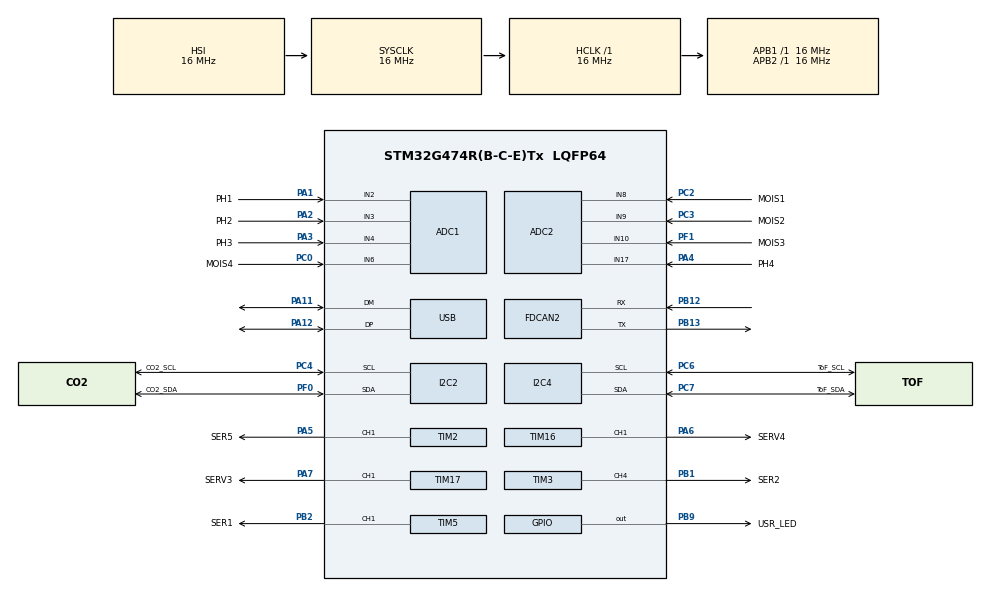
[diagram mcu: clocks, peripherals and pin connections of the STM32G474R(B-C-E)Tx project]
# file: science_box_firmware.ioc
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ADC1.Channel-1\#ChannelRegularConversion=ADC_CHANNEL_2
ADC1.Channel-2\#ChannelRegularConversion=ADC_CHANNEL_3
ADC1.Channel-3\#ChannelRegularConversion=ADC_CHANNEL_4
ADC1.Channel-4\#ChannelRegularConversion=ADC_CHANNEL_6
ADC1.DiscontinuousConvMode=ENABLE
ADC1.NbrOfConversion=4
ADC1.NbrOfConversionFlag=1
ADC1.OffsetNumber-1\#ChannelRegularConversion=ADC_OFFSET_NONE
ADC1.OffsetNumber-2\#ChannelRegularConversion=ADC_OFFSET_NONE
ADC1.OffsetNumber-3\#ChannelRegularConversion=ADC_OFFSET_NONE
ADC1.OffsetNumber-4\#ChannelRegularConversion=ADC_OFFSET_NONE
ADC1.Rank-1\#ChannelRegularConversion=1
ADC1.Rank-2\#ChannelRegularConversion=2
ADC1.Rank-3\#ChannelRegularConversion=3
ADC1.Rank-4\#ChannelRegularConversion=4
ADC1.SamplingTime-1\#ChannelRegularConversion=ADC_SAMPLETIME_640CYCLES_5
ADC1.SamplingTime-2\#ChannelRegularConversion=ADC_SAMPLETIME_640CYCLES_5
ADC1.SamplingTime-3\#ChannelRegularConversion=ADC_SAMPLETIME_640CYCLES_5
ADC1.SamplingTime-4\#ChannelRegularConversion=ADC_SAMPLETIME_640CYCLES_5
ADC1.master=1
ADC2.Channel-0\#ChannelRegularConversion=ADC_CHANNEL_8
ADC2.Channel-1\#ChannelRegularConversion=ADC_CHANNEL_9
ADC2.Channel-2\#ChannelRegularConversion=ADC_CHANNEL_10
ADC2.Channel-3\#ChannelRegularConversion=ADC_CHANNEL_17
ADC2.DiscontinuousConvMode=ENABLE
ADC2.NbrOfConversion=4
ADC2.NbrOfConversionFlag=1
ADC2.OffsetNumber-0\#ChannelRegularConversion=ADC_OFFSET_NONE
ADC2.OffsetNumber-1\#ChannelRegularConversion=ADC_OFFSET_NONE
ADC2.OffsetNumber-2\#ChannelRegularConversion=ADC_OFFSET_NONE
ADC2.OffsetNumber-3\#ChannelRegularConversion=ADC_OFFSET_NONE
ADC2.Rank-0\#ChannelRegularConversion=1
ADC2.Rank-1\#ChannelRegularConversion=2
ADC2.Rank-2\#ChannelRegularConversion=3
ADC2.Rank-3\#ChannelRegularConversion=4
ADC2.SamplingTime-0\#ChannelRegularConversion=ADC_SAMPLETIME_640CYCLES_5
ADC2.SamplingTime-1\#ChannelRegularConversion=ADC_SAMPLETIME_640CYCLES_5
ADC2.SamplingTime-2\#ChannelRegularConversion=ADC_SAMPLETIME_640CYCLES_5
ADC2.SamplingTime-3\#ChannelRegularConversion=ADC_SAMPLETIME_640CYCLES_5
FDCAN2.CalculateBaudRateNominal=333333
FDCAN2.CalculateTimeBitNominal=3000
FDCAN2.CalculateTimeQuantumNominal=1000.0
I2C2.Timing=0x00503D58
I2C4.Timing=0x00503D58
Mcu.Family=STM32G4
Mcu.Name=STM32G474R(B-C-E)Tx
Mcu.Package=LQFP64
NVIC.PriorityGroup=NVIC_PRIORITYGROUP_4
NVIC.RTC_WKUP_IRQn=true\:0\:0\:false\:false\:true\:true\:true\:true
NVIC.USB_HP_IRQn=true\:0\:0\:false\:false\:true\:true\:true\:true
NVIC.USB_LP_IRQn=true\:0\:0\:false\:false\:true\:true\:true\:true
PA1.GPIO_Label=PH1
PA1.Mode=IN2-Single-Ended
PA1.Signal=ADC1_IN2
PA11.Mode=Device
PA11.Signal=USB_DM
PA12.Mode=Device
PA12.Signal=USB_DP
PA13.Mode=Trace_Asynchronous_SW
PA13.Signal=SYS_JTMS-SWDIO
PA14.Mode=Trace_Asynchronous_SW
PA14.Signal=SYS_JTCK-SWCLK
PA2.GPIO_Label=PH2
PA2.Mode=IN3-Single-Ended
PA2.Signal=ADC1_IN3
PA3.GPIO_Label=PH3
PA3.Mode=IN4-Single-Ended
PA3.Signal=ADC1_IN4
PA4.GPIO_Label=PH4
PA4.Mode=IN17-Single-Ended
PA4.Signal=ADC2_IN17
PA5.GPIO_Label=SER5
PA5.Signal=S_TIM2_CH1
PA6.GPIO_Label=SERV4
PA6.Signal=S_TIM16_CH1
PA7.GPIO_Label=SERV3
PA7.Signal=S_TIM17_CH1
PB1.GPIO_Label=SER2
PB1.Signal=S_TIM3_CH4
PB12.Mode=FDCAN_Activate
PB12.Signal=FDCAN2_RX
PB13.Mode=FDCAN_Activate
PB13.Signal=FDCAN2_TX
PB2.GPIO_Label=SER1
PB2.Signal=S_TIM5_CH1
PB3.Mode=Trace_Asynchronous_SW
PB3.Signal=SYS_JTDO-SWO
PB9.GPIO_Label=USR_LED
PB9.Signal=GPIO_Output
PC0.GPIO_Label=MOIS4
PC0.Mode=IN6-Single-Ended
PC0.Signal=ADC1_IN6
PC2.GPIO_Label=MOIS1
PC2.Mode=IN8-Single-Ended
PC2.Signal=ADC2_IN8
PC3.GPIO_Label=MOIS2
PC3.Mode=IN9-Single-Ended
PC3.Signal=ADC2_IN9
PC4.GPIO_Label=CO2_SCL
PC4.Mode=I2C
PC4.Signal=I2C2_SCL
PC6.GPIO_Label=ToF_SCL
PC6.Mode=I2C
PC6.Signal=I2C4_SCL
PC7.GPIO_Label=ToF_SDA
PC7.Mode=I2C
PC7.Signal=I2C4_SDA
PF0-OSC_IN.GPIO_Label=CO2_SDA
PF0-OSC_IN.Mode=I2C
PF0-OSC_IN.Signal=I2C2_SDA
PF1-OSC_OUT.GPIO_Label=MOIS3
PF1-OSC_OUT.Mode=IN10-Single-Ended
PF1-OSC_OUT.Signal=ADC2_IN10
ProjectManager.HeapSize=0x200
ProjectManager.StackSize=0x400
ProjectManager.TargetToolchain=CMake
RCC.AHBFreq_Value=16000000
RCC.APB1Freq_Value=16000000
RCC.APB1TimFreq_Value=16000000
RCC.APB2Freq_Value=16000000
RCC.APB2TimFreq_Value=16000000
RCC.CortexFreq_Value=16000000
RCC.EXTERNAL_CLOCK_VALUE=12288000
RCC.HCLKFreq_Value=16000000
RCC.HSE_VALUE=8000000
RCC.HSI48_VALUE=48000000
RCC.HSI_VALUE=16000000
RCC.LSE_VALUE=32768
RCC.PLLN=12
RCC.PLLQ=RCC_PLLQ_DIV4
RCC.SYSCLKFreq_VALUE=16000000
RCC.USBFreq_Value=48000000
RCC.VCOOutputFreq_Value=192000000
RTC.Format=RTC_FORMAT_BIN
SH.S_TIM16_CH1.0=TIM16_CH1,PWM Generation1 CH1
SH.S_TIM17_CH1.0=TIM17_CH1,PWM Generation1 CH1
SH.S_TIM2_CH1.0=TIM2_CH1,PWM Generation1 CH1
SH.S_TIM3_CH4.0=TIM3_CH4,PWM Generation4 CH4
SH.S_TIM5_CH1.0=TIM5_CH1,PWM Generation1 CH1
TIM16.AutoReloadPreload=TIM_AUTORELOAD_PRELOAD_ENABLE
TIM16.Channel=TIM_CHANNEL_1
TIM16.PeriodNoDither=1000
TIM16.Prescaler=320
TIM17.AutoReloadPreload=TIM_AUTORELOAD_PRELOAD_ENABLE
TIM17.Channel=TIM_CHANNEL_1
TIM17.PeriodNoDither=1000
TIM17.Prescaler=320
TIM2.AutoReloadPreload=TIM_AUTORELOAD_PRELOAD_ENABLE
TIM2.Channel-PWM\ Generation1\ CH1=TIM_CHANNEL_1
TIM2.PeriodNoDither=1000
TIM2.Prescaler=320
TIM3.AutoReloadPreload=TIM_AUTORELOAD_PRELOAD_ENABLE
TIM3.Channel-PWM\ Generation4\ CH4=TIM_CHANNEL_4
TIM3.PeriodNoDither=1000
TIM3.Prescaler=320
TIM5.AutoReloadPreload=TIM_AUTORELOAD_PRELOAD_ENABLE
TIM5.Channel-PWM\ Generation1\ CH1=TIM_CHANNEL_1
TIM5.PeriodNoDither=1000
TIM5.Prescaler=320
VP_RTC_VS_RTC_Activate.Mode=RTC_Enabled
VP_RTC_VS_RTC_Calendar.Mode=RTC_Calendar
VP_RTC_VS_RTC_WakeUp_intern.Mode=WakeUp
VP_SYS_VS_DBSignals.Mode=DisableDeadBatterySignals
VP_TIM16_VS_ClockSourceINT.Mode=Enable_Timer
VP_TIM17_VS_ClockSourceINT.Mode=Enable_Timer
VP_TIM2_VS_ClockSourceINT.Mode=Internal
VP_TIM3_VS_ClockSourceINT.Mode=Internal
VP_TIM5_VS_ClockSourceINT.Mode=Internal
board=custom

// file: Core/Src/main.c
/* USER CODE BEGIN Header */
/**
  ******************************************************************************
  * @file           : main.c
  * @brief          : Main program body
  ******************************************************************************
  * @attention
  *
  * Copyright (c) 2026 STMicroelectronics.
  * All rights reserved.
  *
  * This software is licensed under terms that can be found in the LICENSE file
  * in the root directory of this software component.
  * If no LICENSE file comes with this software, it is provided AS-IS.
  *
  ******************************************************************************
  */
/* USER CODE END Header */
#include "main.h"

/* USER CODE BEGIN Includes */

// Including the C standard libraries
#include <stdio.h>			// STDIO
#include <string.h>			// Strings (for organizing data)
#include "rosjam.h"
#include "stm32g4xx_hal_rtc.h"
#include "vl53l3cx.h"
/* USER CODE END Includes */

ADC_HandleTypeDef hadc1;
ADC_HandleTypeDef hadc2;

FDCAN_HandleTypeDef hfdcan2;

I2C_HandleTypeDef hi2c2;
I2C_HandleTypeDef hi2c4;

RTC_HandleTypeDef hrtc;

TIM_HandleTypeDef htim2;
TIM_HandleTypeDef htim3;
TIM_HandleTypeDef htim5;
TIM_HandleTypeDef htim16;
TIM_HandleTypeDef htim17;

PCD_HandleTypeDef hpcd_USB_FS;

/* USER CODE BEGIN PV */
uint16_t ph1_val = 0;
uint16_t ph2_val = 0;
uint16_t ph3_val = 0;

uint16_t mois1_val = 0;
uint16_t mois2_val = 0;
uint16_t mois3_val = 0;

uint32_t tof_val = 0;

uint16_t timer = 0;
uint16_t timestamp = 0;

char buffer[150];
uint16_t msglength;

// Setting up the RTC
#define RtcHandle &hrtc
char timestamp_message[50];
uint8_t sizeTimer;

/* USER CODE END PV */

void SystemClock_Config(void);
static void MX_GPIO_Init(void);
static void MX_ADC1_Init(void);
static void MX_ADC2_Init(void);
static void MX_FDCAN2_Init(void);
static void MX_I2C2_Init(void);
static void MX_I2C4_Init(void);
static void MX_TIM2_Init(void);
static void MX_TIM3_Init(void);
static void MX_TIM5_Init(void);
static void MX_TIM16_Init(void);
static void MX_TIM17_Init(void);
static void MX_USB_PCD_Init(void);
static void MX_RTC_Init(void);

/* USER CODE BEGIN 0 */
  // DEBUG: JTAG
int __io_putchar(int ch) {
 // Write character to ITM ch.0
 ITM_SendChar(ch);
 return(ch);
}
// RTC interrupt callback function
void HAL_RTCEx_WakeUpTimerEventCallback(RTC_HandleTypeDef *hrtc)
{
	static RTC_TimeTypeDef sTime;

	// Get current time and date
	HAL_RTC_GetTime(hrtc, &sTime, RTC_FORMAT_BIN);
	uint16_t mseconds = (sTime.SubSeconds * 1000) / (sTime.SecondFraction + 1);

	// Send time and date over uart
	sizeTimer = sprintf(timestamp_message, "%02d:%02d:%02d:%3.3u\r\n", sTime.Hours, sTime.Minutes, sTime.Seconds, mseconds);
  timestamp++;;
  timer++;
}

VL53L3CX_Object_t sensor;

static int32_t I2C_WriteReg(uint16_t addr, uint8_t *pdata, uint16_t count) {
    if (HAL_I2C_Master_Transmit(&hi2c4, addr, pdata, count, 100) != HAL_OK)
        return -1;
    return 0;
}

static int32_t I2C_ReadReg(uint16_t addr, uint8_t *pdata, uint16_t count) {
    if (HAL_I2C_Master_Receive(&hi2c4, addr, pdata, count, 100) != HAL_OK)
        return -1;
    return 0;
}

static int32_t I2C_GetTick(void) {
    return (int32_t)HAL_GetTick();
}

void ToF_Init(void) {
    HAL_GPIO_WritePin(GPIOA, GPIO_PIN_15, GPIO_PIN_RESET);
    HAL_Delay(10);
    HAL_GPIO_WritePin(GPIOA, GPIO_PIN_15, GPIO_PIN_SET);
    HAL_Delay(200);

    VL53L3CX_IO_t io;
    io.Address  = VL53L3CX_DEVICE_ADDRESS;
    io.WriteReg = I2C_WriteReg;
    io.ReadReg  = I2C_ReadReg;
    io.GetTick  = I2C_GetTick;
    io.Init     = 0; // I2C already initialized by MX_I2C4_Init
    io.DeInit   = NULL;

    VL53L3CX_RegisterBusIO(&sensor, &io);
    VL53L3CX_Init(&sensor);
    VL53L3CX_Start(&sensor, VL53L3CX_MODE_BLOCKING_CONTINUOUS);
}

int32_t ToF_Read(void) {
    VL53L3CX_Result_t result;

    if (VL53L3CX_GetDistance(&sensor, &result) != VL53L3CX_OK) {
        return -1;
    }

    for (uint32_t i = 0; i < result.ZoneResult[0].NumberOfTargets; i++) {
        if (result.ZoneResult[0].Status[i] == 0) {
            return result.ZoneResult[0].Distance[i];
        }
    }
    return -1;
}

uint16_t Get_Position(float position) {
	return position * 100 + 100;
}

// Position goes from 0 to 1
void Turn_Servo(uint8_t number, float position) {
	position = Get_Position(position);
	if (number == 1) {
		__HAL_TIM_SET_COMPARE(&htim5, TIM_CHANNEL_1, position);
	}
	if (number == 2) {
		__HAL_TIM_SET_COMPARE(&htim3, TIM_CHANNEL_4, position);
	}
	if (number == 3) {
		__HAL_TIM_SET_COMPARE(&htim17, TIM_CHANNEL_1, position);
	}
	if (number == 4) {
		__HAL_TIM_SET_COMPARE(&htim16, TIM_CHANNEL_1, position);
	}
	if (number == 5) {
		__HAL_TIM_SET_COMPARE(&htim2, TIM_CHANNEL_1, position);
	}

}
/* USER CODE END 0 */

int main(void)
{

  /* MCU Configuration--------------------------------------------------------*/

  /* Reset of all peripherals, Initializes the Flash interface and the Systick. */
  HAL_Init();

  /* Configure the system clock */
  SystemClock_Config();

  /* Initialize all configured peripherals */
  MX_GPIO_Init();
  MX_ADC1_Init();
  MX_ADC2_Init();
  MX_FDCAN2_Init();
  MX_I2C2_Init();
  MX_I2C4_Init();
  MX_TIM2_Init();
  MX_TIM3_Init();
  MX_TIM5_Init();
  MX_TIM16_Init();
  MX_TIM17_Init();
  MX_USB_PCD_Init();
  MX_RTC_Init();
  /* USER CODE BEGIN 2 */
  // Initialize USB connection
  setup_simple();

  // ToF Sensor
  ToF_Init();

  // Initialize servo PWM timers
  // IMPORTANT: Set the timers and channels accordingly
  HAL_TIM_PWM_Start(&htim5, TIM_CHANNEL_1); 		// Servo 1
  __HAL_TIM_SET_COMPARE(&htim5, TIM_CHANNEL_1, 50);
  HAL_TIM_PWM_Start(&htim3, TIM_CHANNEL_4);			// Servo 2
  __HAL_TIM_SET_COMPARE(&htim3, TIM_CHANNEL_4, 50);
  HAL_TIM_PWM_Start(&htim17, TIM_CHANNEL_1);		// Servo 3
  __HAL_TIM_SET_COMPARE(&htim17, TIM_CHANNEL_1, 50);
  HAL_TIM_PWM_Start(&htim16, TIM_CHANNEL_1);		// Servo 4
  __HAL_TIM_SET_COMPARE(&htim16, TIM_CHANNEL_1, 50);
  HAL_TIM_PWM_Start(&htim2, TIM_CHANNEL_1);			// Servo 5
  __HAL_TIM_SET_COMPARE(&htim2, TIM_CHANNEL_1, 50);

  int i = 50;

  // RTC startup config
  RTC_TimeTypeDef sTimeinit;
  uint16_t mseconds = 0;
  // Disable Wakeup Timer and configure it
  HAL_RTCEx_DeactivateWakeUpTimer(RtcHandle);
  // Init the time of the RTC system
  sTimeinit.Hours = 0;
  sTimeinit.Minutes = 0;
  HAL_RTC_SetTime(RtcHandle, &sTimeinit, RTC_FORMAT_BIN);

    // Start Wakeup timer with configuration (32768Hz / 16 = 2048) -> Counter = 2048
  HAL_RTCEx_SetWakeUpTimer_IT(RtcHandle, 2048-1, RTC_WAKEUPCLOCK_RTCCLK_DIV16);

  /* USER CODE END 2 */

  /* Infinite loop */
  /* USER CODE BEGIN WHILE */
  while (1)
  {
    // Setup USB
    process_simple();

    /* USER CODE END WHILE */

    /* USER CODE BEGIN 3 */

    // RTC handling
		// HAL_RTC_GetTime(RtcHandle, &sTime, RTC_FORMAT_BIN);
		// mseconds = (sTime.SubSeconds * 1000) / (sTime.SecondFraction + 1);

	  // Servo driving

	  // Get servo signals from USB
    // The message will be formatted as: "S1:xx;S2:xx;S3:xx;S4:xx\n"

	  // Set the duty cycle for the servos to the values given
    // Servos
    //  ---- This is a test to check servos -----
    // i += 1;
    // if (50 > i && i >= 25) {
    //   Turn_Servo(1, 0);
    // } else if (25 > i && i >= 0) {
    //   Turn_Servo(1, 1);
    // } else {
    //   i = 0;
    // }
    // if (i > 200) i = 100;

	  // ADC configuration and logic: polling
	  HAL_ADC_Start(&hadc1);
	  HAL_ADC_PollForConversion(&hadc1, 100);
	  ph3_val = HAL_ADC_GetValue(&hadc1);		// Ch2

	  HAL_ADC_Start(&hadc1);
	  HAL_ADC_PollForConversion(&hadc1, 100);
	  mois2_val = HAL_ADC_GetValue(&hadc1);		// Ch14

	  HAL_ADC_Start(&hadc1);
	  HAL_ADC_PollForConversion(&hadc1, 100);
	  mois3_val = HAL_ADC_GetValue(&hadc1);		// Ch3

	  HAL_ADC_Stop(&hadc1);

	  HAL_ADC_Start(&hadc2);
	  HAL_ADC_PollForConversion(&hadc2, 100);
	  ph1_val = HAL_ADC_GetValue(&hadc2);		// Ch10

	  HAL_ADC_Start(&hadc2);
	  HAL_ADC_PollForConversion(&hadc2, 100);
	  ph2_val = HAL_ADC_GetValue(&hadc2);		// Ch6

	  HAL_ADC_Start(&hadc2);
	  HAL_ADC_PollForConversion(&hadc2, 100);
	  mois1_val = HAL_ADC_GetValue(&hadc2);		// Ch17

	  HAL_ADC_Stop(&hadc2);

    // ToF
    tof_val = ToF_Read();

	  // Send the data via the USB interface
	  // Write to buffer

    if (timer > 0){
        msglength = sprintf(buffer, "ph1=%d, ph2=%d, ph3=%d, m1=%d, m2=%d, m3=%d, tof=%ld; %d\r\n",
        ph1_val, ph2_val, ph3_val, mois1_val, mois2_val, mois3_val, tof_val,
        timestamp);
	    // Send data via USB
      send_msg_raw(buffer, msglength);
      timer = 0;
    }

    // NO HAL_Delay!!! (rosjam USB doesn't like that)
  }
  /* USER CODE END 3 */
}

void SystemClock_Config(void)
{
  RCC_OscInitTypeDef RCC_OscInitStruct = {0};
  RCC_ClkInitTypeDef RCC_ClkInitStruct = {0};

  /** Configure the main internal regulator output voltage
  */
  HAL_PWREx_ControlVoltageScaling(PWR_REGULATOR_VOLTAGE_SCALE1);

  /** Initializes the RCC Oscillators according to the specified parameters
  * in the RCC_OscInitTypeDef structure.
  */
  RCC_OscInitStruct.OscillatorType = RCC_OSCILLATORTYPE_HSI|RCC_OSCILLATORTYPE_LSI;
  RCC_OscInitStruct.HSIState = RCC_HSI_ON;
  RCC_OscInitStruct.HSICalibrationValue = RCC_HSICALIBRATION_DEFAULT;
  RCC_OscInitStruct.LSIState = RCC_LSI_ON;
  RCC_OscInitStruct.PLL.PLLState = RCC_PLL_ON;
  RCC_OscInitStruct.PLL.PLLSource = RCC_PLLSOURCE_HSI;
  RCC_OscInitStruct.PLL.PLLM = RCC_PLLM_DIV1;
  RCC_OscInitStruct.PLL.PLLN = 12;
  RCC_OscInitStruct.PLL.PLLP = RCC_PLLP_DIV2;
  RCC_OscInitStruct.PLL.PLLQ = RCC_PLLQ_DIV4;
  RCC_OscInitStruct.PLL.PLLR = RCC_PLLR_DIV2;
  if (HAL_RCC_OscConfig(&RCC_OscInitStruct) != HAL_OK)
  {
    Error_Handler();
  }

  /** Initializes the CPU, AHB and APB buses clocks
  */
  RCC_ClkInitStruct.ClockType = RCC_CLOCKTYPE_HCLK|RCC_CLOCKTYPE_SYSCLK
                              |RCC_CLOCKTYPE_PCLK1|RCC_CLOCKTYPE_PCLK2;
  RCC_ClkInitStruct.SYSCLKSource = RCC_SYSCLKSOURCE_HSI;
  RCC_ClkInitStruct.AHBCLKDivider = RCC_SYSCLK_DIV1;
  RCC_ClkInitStruct.APB1CLKDivider = RCC_HCLK_DIV1;
  RCC_ClkInitStruct.APB2CLKDivider = RCC_HCLK_DIV1;

  if (HAL_RCC_ClockConfig(&RCC_ClkInitStruct, FLASH_LATENCY_0) != HAL_OK)
  {
    Error_Handler();
  }
}

static void MX_ADC1_Init(void)
{

  ADC_MultiModeTypeDef multimode = {0};
  ADC_ChannelConfTypeDef sConfig = {0};

  /** Common config
  */
  hadc1.Instance = ADC1;
  hadc1.Init.ClockPrescaler = ADC_CLOCK_SYNC_PCLK_DIV2;
  hadc1.Init.Resolution = ADC_RESOLUTION_12B;
  hadc1.Init.DataAlign = ADC_DATAALIGN_RIGHT;
  hadc1.Init.GainCompensation = 0;
  hadc1.Init.ScanConvMode = ADC_SCAN_ENABLE;
  hadc1.Init.EOCSelection = ADC_EOC_SINGLE_CONV;
  hadc1.Init.LowPowerAutoWait = DISABLE;
  hadc1.Init.ContinuousConvMode = DISABLE;
  hadc1.Init.NbrOfConversion = 4;
  hadc1.Init.DiscontinuousConvMode = ENABLE;
  hadc1.Init.NbrOfDiscConversion = 1;
  hadc1.Init.ExternalTrigConv = ADC_SOFTWARE_START;
  hadc1.Init.ExternalTrigConvEdge = ADC_EXTERNALTRIGCONVEDGE_NONE;
  hadc1.Init.DMAContinuousRequests = DISABLE;
  hadc1.Init.Overrun = ADC_OVR_DATA_PRESERVED;
  hadc1.Init.OversamplingMode = DISABLE;
  if (HAL_ADC_Init(&hadc1) != HAL_OK)
  {
    Error_Handler();
  }

  /** Configure the ADC multi-mode
  */
  multimode.Mode = ADC_MODE_INDEPENDENT;
  if (HAL_ADCEx_MultiModeConfigChannel(&hadc1, &multimode) != HAL_OK)
  {
    Error_Handler();
  }

  /** Configure Regular Channel
  */
  sConfig.Channel = ADC_CHANNEL_2;
  sConfig.Rank = ADC_REGULAR_RANK_1;
  sConfig.SamplingTime = ADC_SAMPLETIME_640CYCLES_5;
  sConfig.SingleDiff = ADC_SINGLE_ENDED;
  sConfig.OffsetNumber = ADC_OFFSET_NONE;
  sConfig.Offset = 0;
  if (HAL_ADC_ConfigChannel(&hadc1, &sConfig) != HAL_OK)
  {
    Error_Handler();
  }

  /** Configure Regular Channel
  */
  sConfig.Channel = ADC_CHANNEL_4;
  sConfig.Rank = ADC_REGULAR_RANK_2;
  if (HAL_ADC_ConfigChannel(&hadc1, &sConfig) != HAL_OK)
  {
    Error_Handler();
  }

  /** Configure Regular Channel
  */
  sConfig.Channel = ADC_CHANNEL_3;
  sConfig.Rank = ADC_REGULAR_RANK_3;
  if (HAL_ADC_ConfigChannel(&hadc1, &sConfig) != HAL_OK)
  {
    Error_Handler();
  }

}

static void MX_ADC2_Init(void)
{

  ADC_ChannelConfTypeDef sConfig = {0};

  /** Common config
  */
  hadc2.Instance = ADC2;
  hadc2.Init.ClockPrescaler = ADC_CLOCK_SYNC_PCLK_DIV2;
  hadc2.Init.Resolution = ADC_RESOLUTION_12B;
  hadc2.Init.DataAlign = ADC_DATAALIGN_RIGHT;
  hadc2.Init.GainCompensation = 0;
  hadc2.Init.ScanConvMode = ADC_SCAN_ENABLE;
  hadc2.Init.EOCSelection = ADC_EOC_SINGLE_CONV;
  hadc2.Init.LowPowerAutoWait = DISABLE;
  hadc2.Init.ContinuousConvMode = DISABLE;
  hadc2.Init.NbrOfConversion = 4;
  hadc2.Init.DiscontinuousConvMode = ENABLE;
  hadc2.Init.NbrOfDiscConversion = 1;
  hadc2.Init.ExternalTrigConv = ADC_SOFTWARE_START;
  hadc2.Init.ExternalTrigConvEdge = ADC_EXTERNALTRIGCONVEDGE_NONE;
  hadc2.Init.DMAContinuousRequests = DISABLE;
  hadc2.Init.Overrun = ADC_OVR_DATA_PRESERVED;
  hadc2.Init.OversamplingMode = DISABLE;
  if (HAL_ADC_Init(&hadc2) != HAL_OK)
  {
    Error_Handler();
  }

  /** Configure Regular Channel
  */
  sConfig.Channel = ADC_CHANNEL_10;
  sConfig.Rank = ADC_REGULAR_RANK_1;
  sConfig.SamplingTime = ADC_SAMPLETIME_640CYCLES_5;
  sConfig.SingleDiff = ADC_SINGLE_ENDED;
  sConfig.OffsetNumber = ADC_OFFSET_NONE;
  sConfig.Offset = 0;
  if (HAL_ADC_ConfigChannel(&hadc2, &sConfig) != HAL_OK)
  {
    Error_Handler();
  }

  /** Configure Regular Channel
  */
  sConfig.Channel = ADC_CHANNEL_6;
  sConfig.Rank = ADC_REGULAR_RANK_2;
  if (HAL_ADC_ConfigChannel(&hadc2, &sConfig) != HAL_OK)
  {
    Error_Handler();
  }

  /** Configure Regular Channel
  */
  sConfig.Channel = ADC_CHANNEL_17;
  sConfig.Rank = ADC_REGULAR_RANK_3;
  if (HAL_ADC_ConfigChannel(&hadc2, &sConfig) != HAL_OK)
  {
    Error_Handler();
  }

}

static void MX_FDCAN2_Init(void)
{

  hfdcan2.Instance = FDCAN2;
  hfdcan2.Init.ClockDivider = FDCAN_CLOCK_DIV1;
  hfdcan2.Init.FrameFormat = FDCAN_FRAME_CLASSIC;
  hfdcan2.Init.Mode = FDCAN_MODE_NORMAL;
  hfdcan2.Init.AutoRetransmission = DISABLE;
  hfdcan2.Init.TransmitPause = DISABLE;
  hfdcan2.Init.ProtocolException = DISABLE;
  hfdcan2.Init.NominalPrescaler = 16;
  hfdcan2.Init.NominalSyncJumpWidth = 1;
  hfdcan2.Init.NominalTimeSeg1 = 1;
  hfdcan2.Init.NominalTimeSeg2 = 1;
  hfdcan2.Init.DataPrescaler = 1;
  hfdcan2.Init.DataSyncJumpWidth = 1;
  hfdcan2.Init.DataTimeSeg1 = 1;
  hfdcan2.Init.DataTimeSeg2 = 1;
  hfdcan2.Init.StdFiltersNbr = 0;
  hfdcan2.Init.ExtFiltersNbr = 0;
  hfdcan2.Init.TxFifoQueueMode = FDCAN_TX_FIFO_OPERATION;
  if (HAL_FDCAN_Init(&hfdcan2) != HAL_OK)
  {
    Error_Handler();
  }

}

static void MX_I2C2_Init(void)
{

  hi2c2.Instance = I2C2;
  hi2c2.Init.Timing = 0x00503D58;
  hi2c2.Init.OwnAddress1 = 0;
  hi2c2.Init.AddressingMode = I2C_ADDRESSINGMODE_7BIT;
  hi2c2.Init.DualAddressMode = I2C_DUALADDRESS_DISABLE;
  hi2c2.Init.OwnAddress2 = 0;
  hi2c2.Init.OwnAddress2Masks = I2C_OA2_NOMASK;
  hi2c2.Init.GeneralCallMode = I2C_GENERALCALL_DISABLE;
  hi2c2.Init.NoStretchMode = I2C_NOSTRETCH_DISABLE;
  if (HAL_I2C_Init(&hi2c2) != HAL_OK)
  {
    Error_Handler();
  }

  /** Configure Analogue filter
  */
  if (HAL_I2CEx_ConfigAnalogFilter(&hi2c2, I2C_ANALOGFILTER_ENABLE) != HAL_OK)
  {
    Error_Handler();
  }

  /** Configure Digital filter
  */
  if (HAL_I2CEx_ConfigDigitalFilter(&hi2c2, 0) != HAL_OK)
  {
    Error_Handler();
  }

}

static void MX_I2C4_Init(void)
{

  hi2c4.Instance = I2C4;
  hi2c4.Init.Timing = 0x00503D58;
  hi2c4.Init.OwnAddress1 = 0;
  hi2c4.Init.AddressingMode = I2C_ADDRESSINGMODE_7BIT;
  hi2c4.Init.DualAddressMode = I2C_DUALADDRESS_DISABLE;
  hi2c4.Init.OwnAddress2 = 0;
  hi2c4.Init.OwnAddress2Masks = I2C_OA2_NOMASK;
  hi2c4.Init.GeneralCallMode = I2C_GENERALCALL_DISABLE;
  hi2c4.Init.NoStretchMode = I2C_NOSTRETCH_DISABLE;
  if (HAL_I2C_Init(&hi2c4) != HAL_OK)
  {
    Error_Handler();
  }

  /** Configure Analogue filter
  */
  if (HAL_I2CEx_ConfigAnalogFilter(&hi2c4, I2C_ANALOGFILTER_ENABLE) != HAL_OK)
  {
    Error_Handler();
  }

  /** Configure Digital filter
  */
  if (HAL_I2CEx_ConfigDigitalFilter(&hi2c4, 0) != HAL_OK)
  {
    Error_Handler();
  }

}

static void MX_RTC_Init(void)
{

  RTC_TimeTypeDef sTime = {0};
  RTC_DateTypeDef sDate = {0};

  /** Initialize RTC Only
  */
  hrtc.Instance = RTC;
  hrtc.Init.HourFormat = RTC_HOURFORMAT_24;
  hrtc.Init.AsynchPrediv = 127;
  hrtc.Init.SynchPrediv = 255;
  hrtc.Init.OutPut = RTC_OUTPUT_DISABLE;
  hrtc.Init.OutPutRemap = RTC_OUTPUT_REMAP_NONE;
  hrtc.Init.OutPutPolarity = RTC_OUTPUT_POLARITY_HIGH;
  hrtc.Init.OutPutType = RTC_OUTPUT_TYPE_OPENDRAIN;
  hrtc.Init.OutPutPullUp = RTC_OUTPUT_PULLUP_NONE;
  if (HAL_RTC_Init(&hrtc) != HAL_OK)
  {
    Error_Handler();
  }

  /** Initialize RTC and set the Time and Date
  */
  sTime.Hours = 0;
  sTime.Minutes = 0;
  sTime.Seconds = 0;
  sTime.SubSeconds = 0;
  sTime.DayLightSaving = RTC_DAYLIGHTSAVING_NONE;
  sTime.StoreOperation = RTC_STOREOPERATION_RESET;
  if (HAL_RTC_SetTime(&hrtc, &sTime, RTC_FORMAT_BIN) != HAL_OK)
  {
    Error_Handler();
  }
  sDate.WeekDay = RTC_WEEKDAY_MONDAY;
  sDate.Month = RTC_MONTH_JANUARY;
  sDate.Date = 1;
  sDate.Year = 0;

  if (HAL_RTC_SetDate(&hrtc, &sDate, RTC_FORMAT_BIN) != HAL_OK)
  {
    Error_Handler();
  }

  /** Enable the WakeUp
  */
  if (HAL_RTCEx_SetWakeUpTimer_IT(&hrtc, 0, RTC_WAKEUPCLOCK_RTCCLK_DIV16) != HAL_OK)
  {
    Error_Handler();
  }

}

static void MX_TIM2_Init(void)
{

  TIM_ClockConfigTypeDef sClockSourceConfig = {0};
  TIM_MasterConfigTypeDef sMasterConfig = {0};
  TIM_OC_InitTypeDef sConfigOC = {0};

  htim2.Instance = TIM2;
  htim2.Init.Prescaler = 320;
  htim2.Init.CounterMode = TIM_COUNTERMODE_UP;
  htim2.Init.Period = 1000;
  htim2.Init.ClockDivision = TIM_CLOCKDIVISION_DIV1;
  htim2.Init.AutoReloadPreload = TIM_AUTORELOAD_PRELOAD_ENABLE;
  if (HAL_TIM_Base_Init(&htim2) != HAL_OK)
  {
    Error_Handler();
  }
  sClockSourceConfig.ClockSource = TIM_CLOCKSOURCE_INTERNAL;
  if (HAL_TIM_ConfigClockSource(&htim2, &sClockSourceConfig) != HAL_OK)
  {
    Error_Handler();
  }
  if (HAL_TIM_PWM_Init(&htim2) != HAL_OK)
  {
    Error_Handler();
  }
  sMasterConfig.MasterOutputTrigger = TIM_TRGO_RESET;
  sMasterConfig.MasterSlaveMode = TIM_MASTERSLAVEMODE_DISABLE;
  if (HAL_TIMEx_MasterConfigSynchronization(&htim2, &sMasterConfig) != HAL_OK)
  {
    Error_Handler();
  }
  sConfigOC.OCMode = TIM_OCMODE_PWM1;
  sConfigOC.Pulse = 0;
  sConfigOC.OCPolarity = TIM_OCPOLARITY_HIGH;
  sConfigOC.OCFastMode = TIM_OCFAST_DISABLE;
  if (HAL_TIM_PWM_ConfigChannel(&htim2, &sConfigOC, TIM_CHANNEL_1) != HAL_OK)
  {
    Error_Handler();
  }
  HAL_TIM_MspPostInit(&htim2);

}

static void MX_TIM3_Init(void)
{

  TIM_ClockConfigTypeDef sClockSourceConfig = {0};
  TIM_MasterConfigTypeDef sMasterConfig = {0};
  TIM_OC_InitTypeDef sConfigOC = {0};

  htim3.Instance = TIM3;
  htim3.Init.Prescaler = 320;
  htim3.Init.CounterMode = TIM_COUNTERMODE_UP;
  htim3.Init.Period = 1000;
  htim3.Init.ClockDivision = TIM_CLOCKDIVISION_DIV1;
  htim3.Init.AutoReloadPreload = TIM_AUTORELOAD_PRELOAD_ENABLE;
  if (HAL_TIM_Base_Init(&htim3) != HAL_OK)
  {
    Error_Handler();
  }
  sClockSourceConfig.ClockSource = TIM_CLOCKSOURCE_INTERNAL;
  if (HAL_TIM_ConfigClockSource(&htim3, &sClockSourceConfig) != HAL_OK)
  {
    Error_Handler();
  }
  if (HAL_TIM_PWM_Init(&htim3) != HAL_OK)
  {
    Error_Handler();
  }
  sMasterConfig.MasterOutputTrigger = TIM_TRGO_RESET;
  sMasterConfig.MasterSlaveMode = TIM_MASTERSLAVEMODE_DISABLE;
  if (HAL_TIMEx_MasterConfigSynchronization(&htim3, &sMasterConfig) != HAL_OK)
  {
    Error_Handler();
  }
  sConfigOC.OCMode = TIM_OCMODE_PWM1;
  sConfigOC.Pulse = 0;
  sConfigOC.OCPolarity = TIM_OCPOLARITY_HIGH;
  sConfigOC.OCFastMode = TIM_OCFAST_DISABLE;
  if (HAL_TIM_PWM_ConfigChannel(&htim3, &sConfigOC, TIM_CHANNEL_4) != HAL_OK)
  {
    Error_Handler();
  }
  HAL_TIM_MspPostInit(&htim3);

}

static void MX_TIM5_Init(void)
{

  TIM_ClockConfigTypeDef sClockSourceConfig = {0};
  TIM_MasterConfigTypeDef sMasterConfig = {0};
  TIM_OC_InitTypeDef sConfigOC = {0};

  htim5.Instance = TIM5;
  htim5.Init.Prescaler = 320;
  htim5.Init.CounterMode = TIM_COUNTERMODE_UP;
  htim5.Init.Period = 1000;
  htim5.Init.ClockDivision = TIM_CLOCKDIVISION_DIV1;
  htim5.Init.AutoReloadPreload = TIM_AUTORELOAD_PRELOAD_ENABLE;
  if (HAL_TIM_Base_Init(&htim5) != HAL_OK)
  {
    Error_Handler();
  }
  sClockSourceConfig.ClockSource = TIM_CLOCKSOURCE_INTERNAL;
  if (HAL_TIM_ConfigClockSource(&htim5, &sClockSourceConfig) != HAL_OK)
  {
    Error_Handler();
  }
  if (HAL_TIM_PWM_Init(&htim5) != HAL_OK)
  {
    Error_Handler();
  }
  sMasterConfig.MasterOutputTrigger = TIM_TRGO_RESET;
  sMasterConfig.MasterSlaveMode = TIM_MASTERSLAVEMODE_DISABLE;
  if (HAL_TIMEx_MasterConfigSynchronization(&htim5, &sMasterConfig) != HAL_OK)
  {
    Error_Handler();
  }
  sConfigOC.OCMode = TIM_OCMODE_PWM1;
  sConfigOC.Pulse = 0;
  sConfigOC.OCPolarity = TIM_OCPOLARITY_HIGH;
  sConfigOC.OCFastMode = TIM_OCFAST_DISABLE;
  if (HAL_TIM_PWM_ConfigChannel(&htim5, &sConfigOC, TIM_CHANNEL_1) != HAL_OK)
  {
    Error_Handler();
  }
  HAL_TIM_MspPostInit(&htim5);

}

static void MX_TIM16_Init(void)
{

  TIM_OC_InitTypeDef sConfigOC = {0};
  TIM_BreakDeadTimeConfigTypeDef sBreakDeadTimeConfig = {0};

  htim16.Instance = TIM16;
  htim16.Init.Prescaler = 320;
  htim16.Init.CounterMode = TIM_COUNTERMODE_UP;
  htim16.Init.Period = 1000;
  htim16.Init.ClockDivision = TIM_CLOCKDIVISION_DIV1;
  htim16.Init.RepetitionCounter = 0;
  htim16.Init.AutoReloadPreload = TIM_AUTORELOAD_PRELOAD_ENABLE;
  if (HAL_TIM_Base_Init(&htim16) != HAL_OK)
  {
    Error_Handler();
  }
  if (HAL_TIM_PWM_Init(&htim16) != HAL_OK)
  {
    Error_Handler();
  }
  sConfigOC.OCMode = TIM_OCMODE_PWM1;
  sConfigOC.Pulse = 0;
  sConfigOC.OCPolarity = TIM_OCPOLARITY_HIGH;
  sConfigOC.OCNPolarity = TIM_OCNPOLARITY_HIGH;
  sConfigOC.OCFastMode = TIM_OCFAST_DISABLE;
  sConfigOC.OCIdleState = TIM_OCIDLESTATE_RESET;
  sConfigOC.OCNIdleState = TIM_OCNIDLESTATE_RESET;
  if (HAL_TIM_PWM_ConfigChannel(&htim16, &sConfigOC, TIM_CHANNEL_1) != HAL_OK)
  {
    Error_Handler();
  }
  sBreakDeadTimeConfig.OffStateRunMode = TIM_OSSR_DISABLE;
  sBreakDeadTimeConfig.OffStateIDLEMode = TIM_OSSI_DISABLE;
  sBreakDeadTimeConfig.LockLevel = TIM_LOCKLEVEL_OFF;
  sBreakDeadTimeConfig.DeadTime = 0;
  sBreakDeadTimeConfig.BreakState = TIM_BREAK_DISABLE;
  sBreakDeadTimeConfig.BreakPolarity = TIM_BREAKPOLARITY_HIGH;
  sBreakDeadTimeConfig.BreakFilter = 0;
  sBreakDeadTimeConfig.AutomaticOutput = TIM_AUTOMATICOUTPUT_DISABLE;
  if (HAL_TIMEx_ConfigBreakDeadTime(&htim16, &sBreakDeadTimeConfig) != HAL_OK)
  {
    Error_Handler();
  }
  HAL_TIM_MspPostInit(&htim16);

}

static void MX_TIM17_Init(void)
{

  TIM_OC_InitTypeDef sConfigOC = {0};
  TIM_BreakDeadTimeConfigTypeDef sBreakDeadTimeConfig = {0};

  htim17.Instance = TIM17;
  htim17.Init.Prescaler = 320;
  htim17.Init.CounterMode = TIM_COUNTERMODE_UP;
  htim17.Init.Period = 1000;
  htim17.Init.ClockDivision = TIM_CLOCKDIVISION_DIV1;
  htim17.Init.RepetitionCounter = 0;
  htim17.Init.AutoReloadPreload = TIM_AUTORELOAD_PRELOAD_ENABLE;
  if (HAL_TIM_Base_Init(&htim17) != HAL_OK)
  {
    Error_Handler();
  }
  if (HAL_TIM_PWM_Init(&htim17) != HAL_OK)
  {
    Error_Handler();
  }
  sConfigOC.OCMode = TIM_OCMODE_PWM1;
  sConfigOC.Pulse = 0;
  sConfigOC.OCPolarity = TIM_OCPOLARITY_HIGH;
  sConfigOC.OCNPolarity = TIM_OCNPOLARITY_HIGH;
  sConfigOC.OCFastMode = TIM_OCFAST_DISABLE;
  sConfigOC.OCIdleState = TIM_OCIDLESTATE_RESET;
  sConfigOC.OCNIdleState = TIM_OCNIDLESTATE_RESET;
  if (HAL_TIM_PWM_ConfigChannel(&htim17, &sConfigOC, TIM_CHANNEL_1) != HAL_OK)
  {
    Error_Handler();
  }
  sBreakDeadTimeConfig.OffStateRunMode = TIM_OSSR_DISABLE;
  sBreakDeadTimeConfig.OffStateIDLEMode = TIM_OSSI_DISABLE;
  sBreakDeadTimeConfig.LockLevel = TIM_LOCKLEVEL_OFF;
  sBreakDeadTimeConfig.DeadTime = 0;
  sBreakDeadTimeConfig.BreakState = TIM_BREAK_DISABLE;
  sBreakDeadTimeConfig.BreakPolarity = TIM_BREAKPOLARITY_HIGH;
  sBreakDeadTimeConfig.BreakFilter = 0;
  sBreakDeadTimeConfig.AutomaticOutput = TIM_AUTOMATICOUTPUT_DISABLE;
  if (HAL_TIMEx_ConfigBreakDeadTime(&htim17, &sBreakDeadTimeConfig) != HAL_OK)
  {
    Error_Handler();
  }
  HAL_TIM_MspPostInit(&htim17);

}

static void MX_USB_PCD_Init(void)
{

  hpcd_USB_FS.Instance = USB;
  hpcd_USB_FS.Init.dev_endpoints = 8;
  hpcd_USB_FS.Init.speed = PCD_SPEED_FULL;
  hpcd_USB_FS.Init.phy_itface = PCD_PHY_EMBEDDED;
  hpcd_USB_FS.Init.Sof_enable = DISABLE;
  hpcd_USB_FS.Init.low_power_enable = DISABLE;
  hpcd_USB_FS.Init.lpm_enable = DISABLE;
  hpcd_USB_FS.Init.battery_charging_enable = DISABLE;
  if (HAL_PCD_Init(&hpcd_USB_FS) != HAL_OK)
  {
    Error_Handler();
  }

}

static void MX_GPIO_Init(void)
{
  GPIO_InitTypeDef GPIO_InitStruct = {0};

  /* GPIO Ports Clock Enable */
  __HAL_RCC_GPIOF_CLK_ENABLE();
  __HAL_RCC_GPIOC_CLK_ENABLE();
  __HAL_RCC_GPIOA_CLK_ENABLE();
  __HAL_RCC_GPIOB_CLK_ENABLE();

  /*Configure GPIO pin Output Level */
  HAL_GPIO_WritePin(USR_LED_GPIO_Port, USR_LED_Pin, GPIO_PIN_RESET);

  /*Configure GPIO pin : USR_LED_Pin */
  GPIO_InitStruct.Pin = USR_LED_Pin;
  GPIO_InitStruct.Mode = GPIO_MODE_OUTPUT_PP;
  GPIO_InitStruct.Pull = GPIO_NOPULL;
  GPIO_InitStruct.Speed = GPIO_SPEED_FREQ_LOW;
  HAL_GPIO_Init(USR_LED_GPIO_Port, &GPIO_InitStruct);

}

void Error_Handler(void)
{
  __disable_irq();
  while (1)
  {
  }
}
